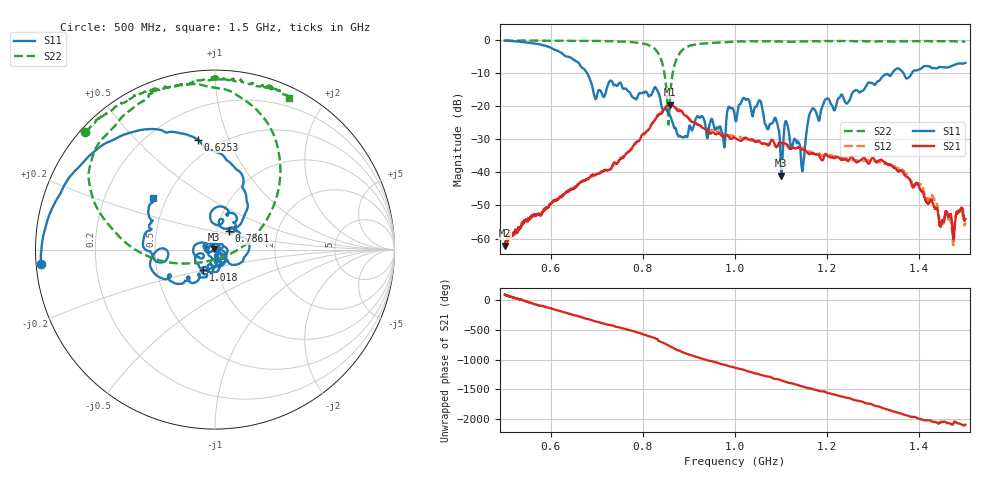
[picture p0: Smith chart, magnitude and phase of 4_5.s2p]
!Agilent Technologies,E8364B,US42250235,A.06.04.32
!Agilent E8364B: A.06.04.32
!Date: Thursday, October 01, 2020 14:43:12
!Correction: S11(Full 2 Port(1,2)) S21(Full 2 Port(1,2)) S12(Full 2 Port(1,2)) S22(Full 2 Port(1,2))
!S2P File: Measurements: S11, S21, S12, S22:
# Hz S  dB  R 50
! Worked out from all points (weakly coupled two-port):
!   2650 points, 500 MHz to 1.5 GHz, reference 50 ohm
!   highest |S21| = -19.59 dB at 858.6 MHz (marker M1); lowest = -62.2 dB at 500 MHz (marker M2)
!   lowest |S11| = -41.0 dB at 1.101 GHz (marker M3), VSWR 1.02, Z = 49.2 + j0.316 ohm
!   |S11| at or under -10 dB: 679.2 MHz to 1.341 GHz (662.1 MHz wide, 65.5 % of centre); 1.366 GHz to 1.384 GHz (18.39 MHz wide, 1.34 % of centre)
!   |S22| runs from -25.6 to -0.2 dB; largest |S21 - S12| = 0.026
!   S11 on the Smith chart (normalised r, x): 500 MHz: 0.01, -0.04; 625.3 MHz: 0.39, +0.78; 786.1 MHz: 1.14, +0.24; 1.018 GHz: 0.86, -0.20; 1.5 GHz: 0.42, +0.30
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5e8  -0.22 -175.3  -62.17 99.7  -61.16 96.1  -0.22 137.8
6.253303e8  -4.14 99.0  -46.98 170.1  -47.26 168.0  -0.28 124.2
6.668554e8  -8.27 66.6  -42.68 76.7  -42.98 72.1  -0.31 119.8
6.96678e8  -17.65 62.1  -40.77 7.8  -40.73 5.3  -0.33 115.6
7.861457e8  -17.89 53.5  -30.84 -177.5  -31.00 178.8  -0.86 91.6
8.337108e8  -15.82 -26.6  -22.78 39.2  -22.54 51.7  -4.14 54.5
8.586259e8  -22.88 -73.8  -19.59 -56.1  -19.22 -42.5  -18.71 -141.2
8.684409e8  -26.65 -117.6  -20.26 -97.3  -20.10 -83.1  -7.73 -177.2
8.861835e8  -29.35 77.7  -21.91 -156.9  -22.07 -142.8  -3.02 159.9
9.254436e8  -23.19 -28.1  -26.04 101.9  -26.01 119.4  -1.16 138.5
9.748962e8  -30.18 -89.0  -29.30 -4.0  -28.47 8.3  -0.74 116.8
9.865987e8  -20.19 -71.9  -29.37 -33.1  -28.84 -16.7  -0.66 113.8
1.000189e9  -23.62 -109.2  -29.63 -59.3  -29.31 -46.8  -0.54 112.7
1.017931e9  -17.60 -119.5  -29.92 -91.0  -29.73 -86.4  -0.46 111.3
1.088901e9  -23.94 148.2  -32.38 109.4  -32.12 122.6  -0.50 107.5
1.100604e9  -41.05 158.8  -31.12 85.3  -31.69 99.7  -0.50 106.5
1.111552e9  -24.78 152.4  -31.54 56.2  -31.62 74.1  -0.55 102.2
1.147037e9  -39.08 -15.9  -33.21 -16.8  -32.56 -4.8  -0.47 94.1
1.166667e9  -21.05 -53.2  -34.24 -56.4  -34.03 -46.7  -0.48 91.1
1.333522e9  -10.54 -151.3  -37.74 -52.8  -37.82 -39.9  -0.45 77.2
1.44715e9  -8.20 158.2  -55.44 101.1  -56.16 98.3  -0.41 69.8
1.5e9  -6.93 140.4  -54.12 56.0  -55.31 63.7  -0.51 64.0
